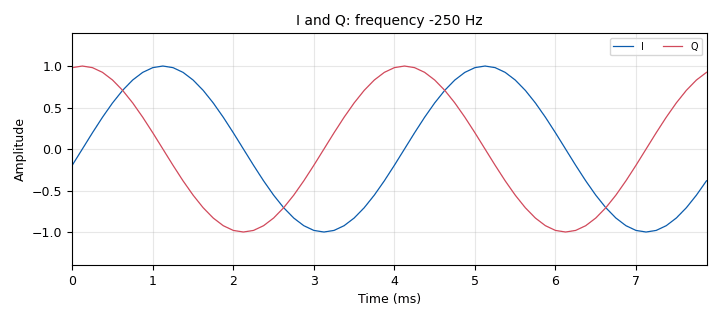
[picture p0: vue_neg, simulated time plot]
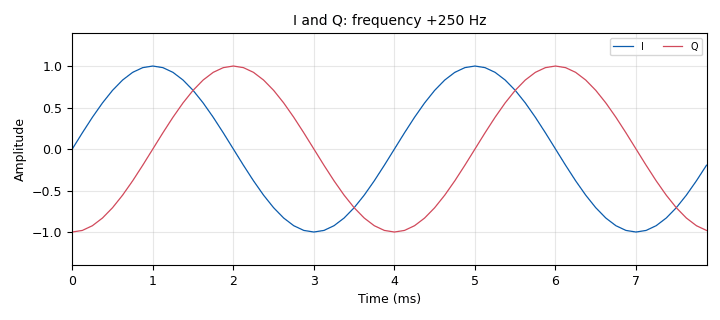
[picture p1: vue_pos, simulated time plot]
options:
  parameters:
    generate_options: qt_gui
    id: fg_ch20_001
    output_language: python
    title: FG-CH20-001
  states: {}

blocks:
- name: freq
  id: variable
  parameters:
    value: '250'
  states: {}
- name: nb_points
  id: variable
  parameters:
    value: '64'
  states: {}
- name: samp_rate
  id: variable
  parameters:
    value: '8000'
  states: {}
- name: debit_pos
  id: blocks_throttle2
  parameters:
    samples_per_second: samp_rate
    type: complex
  states: {}
- name: src_neg
  id: analog_sig_source_x
  parameters:
    amp: '1'
    freq: '-freq'
    offset: '0'
    phase: '0'
    samp_rate: samp_rate
    type: complex
    waveform: analog.GR_COS_WAVE
  states: {}
- name: src_pos
  id: analog_sig_source_x
  parameters:
    amp: '1'
    freq: freq
    offset: '0'
    phase: '0'
    samp_rate: samp_rate
    type: complex
    waveform: analog.GR_COS_WAVE
  states: {}
- name: vers_iq_neg
  id: blocks_complex_to_float
  parameters: {}
  states: {}
- name: vers_iq_pos
  id: blocks_complex_to_float
  parameters: {}
  states: {}
- name: vue_neg
  id: qtgui_time_sink_x
  parameters:
    entags: 'False'
    grid: 'True'
    gui_hint: 1,0,1,1
    label1: '"I"'
    label2: '"Q"'
    name: '"I and Q: frequency -250 Hz"'
    nconnections: '2'
    size: nb_points
    srate: samp_rate
    tr_mode: qtgui.TRIG_MODE_NORM
    type: float
    width1: '2'
    width2: '2'
    ymax: '1.4'
    ymin: '-1.4'
  states: {}
- name: vue_pos
  id: qtgui_time_sink_x
  parameters:
    entags: 'False'
    grid: 'True'
    gui_hint: 0,0,1,1
    label1: '"I"'
    label2: '"Q"'
    name: '"I and Q: frequency +250 Hz"'
    nconnections: '2'
    size: nb_points
    srate: samp_rate
    tr_mode: qtgui.TRIG_MODE_NORM
    type: float
    width1: '2'
    width2: '2'
    ymax: '1.4'
    ymin: '-1.4'
  states: {}

connections:
- [debit_pos, '0', vers_iq_pos, '0']
- [src_neg, '0', vers_iq_neg, '0']
- [src_pos, '0', debit_pos, '0']
- [vers_iq_neg, '0', vue_neg, '0']
- [vers_iq_neg, '1', vue_neg, '1']
- [vers_iq_pos, '0', vue_pos, '0']
- [vers_iq_pos, '1', vue_pos, '1']

metadata:
  file_format: 1
  grc_version: 3.10.12.0
